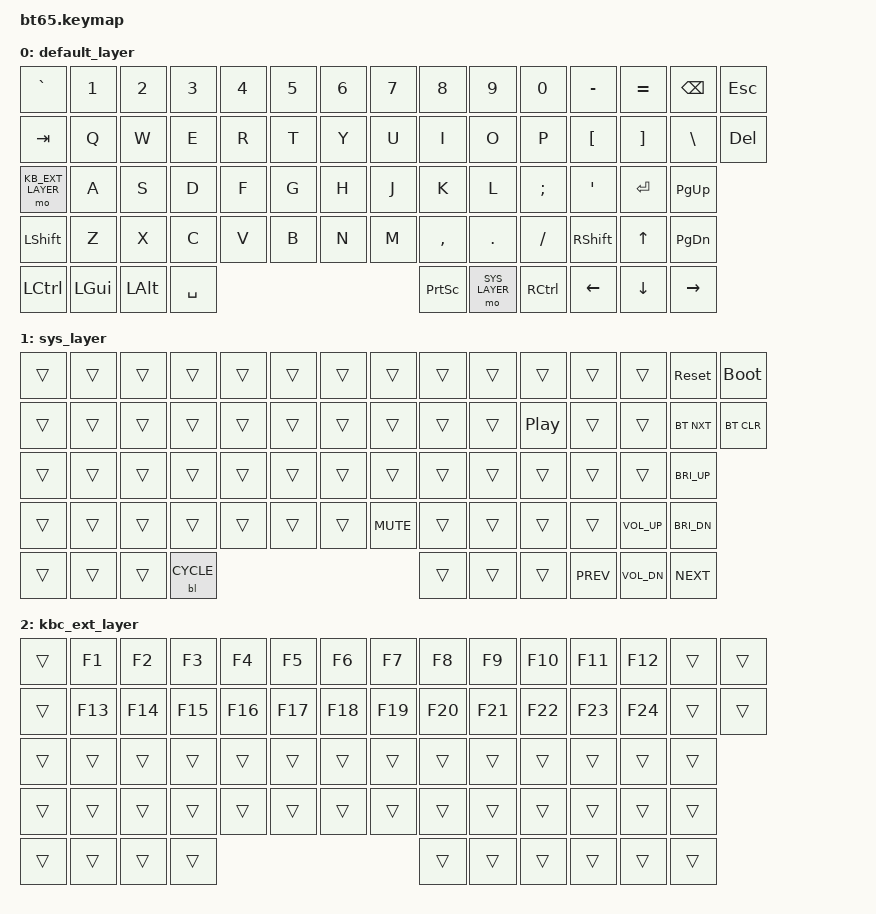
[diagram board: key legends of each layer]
#include <behaviors.dtsi>
#include <dt-bindings/zmk/keys.h>
#include <dt-bindings/zmk/bt.h>
#include <dt-bindings/zmk/rgb.h>
#include <dt-bindings/zmk/backlight.h>
#include <dt-bindings/zmk/ext_power.h>

#define DFLT_LAYER      0
#define SYS_LAYER       1
#define KB_EXT_LAYER    2

/ {
    keymap {
        compatible = "zmk,keymap";

        // ------------------------------------------------------------------------------------------------
        // |  `  |  1  |  2  |  3  |  4  |  5  |  6  |  7  |  8  |  9  |  0  |  -  |  =  |   BKSP   | ESC |
        // | TAB    |  Q  |  W  |  E  |  R  |  T  |  Y  |  U  |  I  |  O  |  P  |  [  |  ]  |   \   | DEL |
        // | CAPS    |  A  |  S  |  D  |  F  |  G  |  H  |  J  |  K  |  L  |  ;  |  '  |   ENTER    | PGUP|
        // | SHIFT      |  Z  |  X  |  C  |  V  |  B  |  N  |  M  |  ,  |  .  |  /  |  SHIFT  | UP  | PGDN|
        // | CTL  |  WIN  |  ALT  |            SPACE               |APP(prt)| FN | CTL | LEFT | DOWN|RIGHT|
        // ------------------------------------------------------------------------------------------------

        default_layer {
            bindings = <
                &kp GRAVE           &kp N1      &kp N2      &kp N3      &kp N4      &kp N5      &kp N6      &kp N7      &kp N8      &kp N9          &kp N0      &kp MINUS   &kp EQUAL &kp BKSP  &kp ESC
                &kp TAB             &kp Q       &kp W       &kp E       &kp R       &kp T       &kp Y       &kp U       &kp I       &kp O           &kp P       &kp LBKT    &kp RBKT  &kp BSLH  &kp DEL
                &mo KB_EXT_LAYER    &kp A       &kp S       &kp D       &kp F       &kp G       &kp H       &kp J       &kp K       &kp L           &kp SEMI    &kp SQT     &kp RET   &kp PG_UP
                &kp LSHFT           &kp Z       &kp X       &kp C       &kp V       &kp B       &kp N       &kp M       &kp COMMA   &kp DOT         &kp FSLH    &kp RSHFT   &kp UP    &kp PG_DN
                &kp LCTRL           &kp LGUI    &kp LALT    &kp SPACE                                                   &kp PSCRN   &mo SYS_LAYER   &kp RCTRL   &kp LEFT    &kp DOWN  &kp RIGHT
            >;
            //sensor-bindings = <&inc_dec_kp C_VOL_UP C_VOL_DN>;
        };
        sys_layer {
            bindings = <
                &trans      &trans      &trans      &trans      &trans      &trans      &trans      &trans      &trans      &trans      &trans            &trans        &trans          &sys_reset    &bootloader
                &trans      &trans      &trans      &trans      &trans      &trans      &trans      &trans      &trans      &trans      &kp C_PLAY_PAUSE  &trans        &trans          &bt BT_NXT    &bt BT_CLR
                &trans      &trans      &trans      &trans      &trans      &trans      &trans      &trans      &trans      &trans      &trans            &trans        &trans          &kp C_BRI_UP
                &trans      &trans      &trans      &trans      &trans      &trans      &trans      &kp C_MUTE  &trans      &trans      &trans            &trans        &kp C_VOL_UP    &kp C_BRI_DN
                &trans      &trans      &trans      &bl BL_CYCLE                                                &trans      &trans      &trans            &kp C_PREV    &kp C_VOL_DN    &kp C_NEXT
            >;
            //sensor-bindings = <&inc_dec_kp C_VOL_UP C_VOL_DN>;
        };
        kbc_ext_layer {
            bindings = <
                &trans      &kp F1      &kp F2      &kp F3      &kp F4      &kp F5      &kp F6      &kp F7      &kp F8      &kp F9      &kp F10           &kp F11       &kp F12         &trans        &trans
                &trans      &kp F13     &kp F14     &kp F15     &kp F16     &kp F17     &kp F18     &kp F19     &kp F20     &kp F21     &kp F22           &kp F23       &kp F24         &trans        &trans
                &trans      &trans      &trans      &trans      &trans      &trans      &trans      &trans      &trans      &trans      &trans            &trans        &trans          &trans
                &trans      &trans      &trans      &trans      &trans      &trans      &trans      &trans      &trans      &trans      &trans            &trans        &trans          &trans
                &trans      &trans      &trans      &trans                                                      &trans      &trans      &trans            &trans        &trans          &trans
            >;
            //sensor-bindings = <&inc_dec_kp C_VOL_UP C_VOL_DN>;
        };
    };
};
